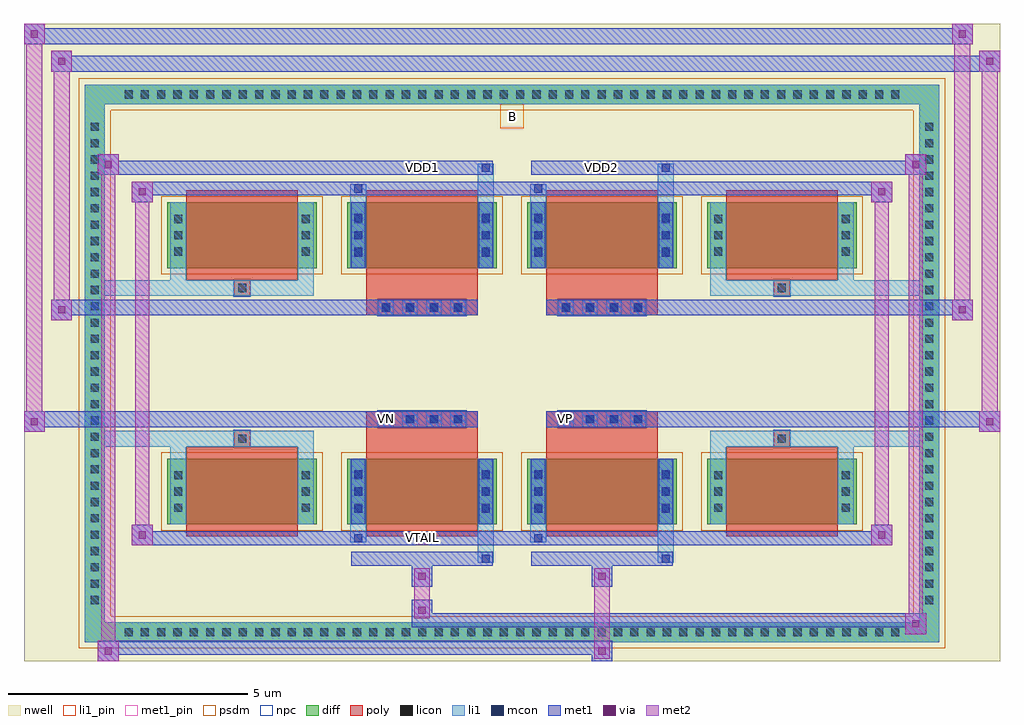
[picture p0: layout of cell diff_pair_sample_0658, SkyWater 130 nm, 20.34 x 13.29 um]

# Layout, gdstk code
import gdstk
lib = gdstk.Library(unit=1e-6, precision=5e-09)
def R(c, l, rs):  # rectangles x0, y0, x1, y1
    for r in rs: c.add(gdstk.rectangle(r[:2], r[2:], *l))
def A(c, l, x, y, w, h, nx, ny, dx, dy):  # array of equal rectangles
    R(c, l, [(x+i*dx, y+j*dy, x+i*dx+w, y+j*dy+h) for i in range(nx) for j in range(ny)])
def P(c, l, *ps):  # polygons
    for p in ps: c.add(gdstk.Polygon(p, *l))
nwell = (64, 20)
diff = (65, 20)
poly = (66, 20)
licon = (66, 44)
li1_pin = (67, 16)
li1 = (67, 20)
mcon = (67, 44)
met1_pin = (68, 16)
met1 = (68, 20)
via = (68, 44)
met2 = (69, 20)
psdm = (94, 20)
npc = (95, 20)

diff_pair_sample_0658 = lib.new_cell('diff_pair_sample_0658')
R(diff_pair_sample_0658, nwell, [(-10.17,-6.21,10.17,7.08), (-7.49,-4.4,-0.01,-0.8), (0.01,-4.4,7.49,-0.8), (-7.49,0.8,-0.01,4.4), (0.01,0.8,7.49,4.4)])
A(diff_pair_sample_0658, diff, -8.195, -5.81, 0.41, 0.41, 48, 2, 0.34, 11.21)
A(diff_pair_sample_0658, diff, -8.9, -5.135, 0.41, 0.41, 1, 30, 0, 0.34)
A(diff_pair_sample_0658, diff, 8.49, -5.135, 0.41, 0.41, 1, 30, 0, 0.34)
A(diff_pair_sample_0658, diff, -7.18, -3.355, 3.11, 1.37, 4, 2, 3.75, 5.34)
R(diff_pair_sample_0658, diff, [(-8.195,-5.81,8.195,-5.4), (-8.9,-5.135,-8.49,5.135), (8.49,-5.135,8.9,5.135), (-8.195,5.4,8.195,5.81)])
P(diff_pair_sample_0658, diff, [(8.9,5.81),(-8.9,5.81),(-8.9,-5.4),(-8.49,-5.4),(-8.49,5.4),(8.49,5.4),(8.49,-5.4),(-8.49,-5.4),(-8.9,-5.4),(-8.9,-5.81),(8.9,-5.81)])
A(diff_pair_sample_0658, poly, -6.79, -3.605, 2.33, 1.87, 4, 2, 3.75, 5.34)
A(diff_pair_sample_0658, poly, -2.79, -1.33, 0.33, 0.33, 4, 2, 0.5, 2.33)
A(diff_pair_sample_0658, poly, 0.96, -1.33, 0.33, 0.33, 4, 2, 0.5, 2.33)
R(diff_pair_sample_0658, poly, [(-5.79,-1.735,-5.46,-1.405), (-5.79,-1.735,-5.46,-1.405), (-3.04,-1.735,-0.71,-1.33), (0.71,-1.735,3.04,-1.33), (5.46,-1.735,5.79,-1.405), (5.46,-1.735,5.79,-1.405), (-3.04,-1.33,-0.71,-1), (0.71,-1.33,3.04,-1), (-3.04,1,-0.71,1.33), (0.71,1,3.04,1.33), (-3.04,1.33,-0.71,1.735), (0.71,1.33,3.04,1.735), (-5.79,1.405,-5.46,1.735), (-5.79,1.405,-5.46,1.735), (5.46,1.405,5.79,1.735), (5.46,1.405,5.79,1.735)])
A(diff_pair_sample_0658, licon, -8.075, -5.69, 0.17, 0.17, 48, 2, 0.34, 11.21)
A(diff_pair_sample_0658, licon, -8.78, -5.015, 0.17, 0.17, 1, 30, 0, 0.34)
A(diff_pair_sample_0658, licon, 8.61, -5.015, 0.17, 0.17, 1, 30, 0, 0.34)
A(diff_pair_sample_0658, licon, -7.04, -3.095, 0.17, 0.17, 1, 3, 0, 0.34)
A(diff_pair_sample_0658, licon, -4.38, -3.095, 0.17, 0.17, 1, 3, 0, 0.34)
A(diff_pair_sample_0658, licon, -3.29, -3.095, 0.17, 0.17, 1, 3, 0, 0.34)
A(diff_pair_sample_0658, licon, -0.63, -3.095, 0.17, 0.17, 1, 3, 0, 0.34)
A(diff_pair_sample_0658, licon, 0.46, -3.095, 0.17, 0.17, 1, 3, 0, 0.34)
A(diff_pair_sample_0658, licon, 3.12, -3.095, 0.17, 0.17, 1, 3, 0, 0.34)
A(diff_pair_sample_0658, licon, 4.21, -3.095, 0.17, 0.17, 1, 3, 0, 0.34)
A(diff_pair_sample_0658, licon, 6.87, -3.095, 0.17, 0.17, 1, 3, 0, 0.34)
A(diff_pair_sample_0658, licon, -2.71, -1.25, 0.17, 0.17, 4, 2, 0.5, 2.33)
A(diff_pair_sample_0658, licon, 1.04, -1.25, 0.17, 0.17, 4, 2, 0.5, 2.33)
A(diff_pair_sample_0658, licon, -7.04, 2.245, 0.17, 0.17, 1, 3, 0, 0.34)
A(diff_pair_sample_0658, licon, -4.38, 2.245, 0.17, 0.17, 1, 3, 0, 0.34)
A(diff_pair_sample_0658, licon, -3.29, 2.245, 0.17, 0.17, 1, 3, 0, 0.34)
A(diff_pair_sample_0658, licon, -0.63, 2.245, 0.17, 0.17, 1, 3, 0, 0.34)
A(diff_pair_sample_0658, licon, 0.46, 2.245, 0.17, 0.17, 1, 3, 0, 0.34)
A(diff_pair_sample_0658, licon, 3.12, 2.245, 0.17, 0.17, 1, 3, 0, 0.34)
A(diff_pair_sample_0658, licon, 4.21, 2.245, 0.17, 0.17, 1, 3, 0, 0.34)
A(diff_pair_sample_0658, licon, 6.87, 2.245, 0.17, 0.17, 1, 3, 0, 0.34)
R(diff_pair_sample_0658, licon, [(-5.71,-1.655,-5.54,-1.485), (5.54,-1.655,5.71,-1.485), (-5.71,1.485,-5.54,1.655), (5.54,1.485,5.71,1.655)])
R(diff_pair_sample_0658, li1_pin, [(-0.25,4.9,0.25,5.4)])
A(diff_pair_sample_0658, li1, -8.155, -5.77, 0.33, 0.33, 48, 2, 0.34, 11.21)
A(diff_pair_sample_0658, li1, -8.86, -5.095, 0.33, 0.33, 1, 30, 0, 0.34)
A(diff_pair_sample_0658, li1, 8.53, -5.095, 0.33, 0.33, 1, 30, 0, 0.34)
A(diff_pair_sample_0658, li1, -7.12, -3.175, 0.33, 0.33, 1, 3, 0, 0.34)
A(diff_pair_sample_0658, li1, -4.46, -3.175, 0.33, 0.33, 1, 3, 0, 0.34)
A(diff_pair_sample_0658, li1, -3.37, -3.175, 0.33, 0.33, 1, 3, 0, 0.34)
A(diff_pair_sample_0658, li1, -0.71, -3.175, 0.33, 0.33, 1, 3, 0, 0.34)
A(diff_pair_sample_0658, li1, 0.38, -3.175, 0.33, 0.33, 1, 3, 0, 0.34)
A(diff_pair_sample_0658, li1, 3.04, -3.175, 0.33, 0.33, 1, 3, 0, 0.34)
A(diff_pair_sample_0658, li1, 4.13, -3.175, 0.33, 0.33, 1, 3, 0, 0.34)
A(diff_pair_sample_0658, li1, 6.79, -3.175, 0.33, 0.33, 1, 3, 0, 0.34)
A(diff_pair_sample_0658, li1, -3.29, -3.115, 0.17, 0.17, 1, 3, 0, 0.36)
A(diff_pair_sample_0658, li1, -0.63, -3.115, 0.17, 0.17, 1, 3, 0, 0.36)
A(diff_pair_sample_0658, li1, 0.46, -3.115, 0.17, 0.17, 1, 3, 0, 0.36)
A(diff_pair_sample_0658, li1, 3.12, -3.115, 0.17, 0.17, 1, 3, 0, 0.36)
A(diff_pair_sample_0658, li1, -2.79, -1.33, 0.33, 0.33, 4, 2, 0.5, 2.33)
A(diff_pair_sample_0658, li1, 0.96, -1.33, 0.33, 0.33, 4, 2, 0.5, 2.33)
A(diff_pair_sample_0658, li1, -7.12, 2.165, 0.33, 0.33, 1, 3, 0, 0.34)
A(diff_pair_sample_0658, li1, -4.46, 2.165, 0.33, 0.33, 1, 3, 0, 0.34)
A(diff_pair_sample_0658, li1, -3.37, 2.165, 0.33, 0.33, 1, 3, 0, 0.34)
A(diff_pair_sample_0658, li1, -0.71, 2.165, 0.33, 0.33, 1, 3, 0, 0.34)
A(diff_pair_sample_0658, li1, 0.38, 2.165, 0.33, 0.33, 1, 3, 0, 0.34)
A(diff_pair_sample_0658, li1, 3.04, 2.165, 0.33, 0.33, 1, 3, 0, 0.34)
A(diff_pair_sample_0658, li1, 4.13, 2.165, 0.33, 0.33, 1, 3, 0, 0.34)
A(diff_pair_sample_0658, li1, 6.79, 2.165, 0.33, 0.33, 1, 3, 0, 0.34)
A(diff_pair_sample_0658, li1, -3.29, 2.225, 0.17, 0.17, 1, 3, 0, 0.36)
A(diff_pair_sample_0658, li1, -0.63, 2.225, 0.17, 0.17, 1, 3, 0, 0.36)
A(diff_pair_sample_0658, li1, 0.46, 2.225, 0.17, 0.17, 1, 3, 0, 0.36)
A(diff_pair_sample_0658, li1, 3.12, 2.225, 0.17, 0.17, 1, 3, 0, 0.36)
R(diff_pair_sample_0658, li1, [(-8.9,-5.81,-8.49,-5.4), (-8.9,-5.81,-8.49,-5.4), (-8.49,-5.81,8.49,-5.4), (8.49,-5.81,8.9,-5.4), (8.49,-5.81,8.9,-5.4), (-8.9,-5.4,-8.49,5.4), (8.49,-5.4,8.9,5.4), (-0.71,-4.16,-0.38,-3.355), (-0.63,-4.16,-0.46,-3.99), (3.04,-4.16,3.37,-3.355), (3.12,-4.16,3.29,-3.99), (-3.37,-3.73,-3.04,-3.355), (-3.29,-3.73,-3.12,-3.56), (0.38,-3.73,0.71,-3.355), (0.46,-3.73,0.63,-3.56), (-7.12,-3.355,-6.79,-1.985), (-4.46,-3.355,-4.13,-1.985), (-3.37,-3.355,-3.04,-1.985), (-0.71,-3.355,-0.38,-1.985), (0.38,-3.355,0.71,-1.985), (3.04,-3.355,3.37,-1.985), (4.13,-3.355,4.46,-1.985), (6.79,-3.355,7.12,-1.985), (-3.29,-3.115,-3.12,-2.225), (-0.63,-3.115,-0.46,-2.225), (0.46,-3.115,0.63,-2.225), (3.12,-3.115,3.29,-2.225), (-7.12,-1.985,-6.79,-1.405), (-4.46,-1.985,-4.13,-1.405), (4.13,-1.985,4.46,-1.405), (6.79,-1.985,7.12,-1.405), (-8.9,-1.735,-5.79,-1.405), (-7.12,-1.735,-5.79,-1.405), (-5.79,-1.735,-5.46,-1.405), (-5.46,-1.735,-4.13,-1.405), (4.13,-1.735,5.46,-1.405), (5.46,-1.735,5.79,-1.405), (5.46,-1.735,8.9,-1.405), (5.79,-1.735,7.12,-1.405), (-8.9,1.405,-5.79,1.735), (-7.12,1.405,-5.79,1.735), (-7.12,1.405,-6.79,1.985), (-5.79,1.405,-5.46,1.735), (-5.46,1.405,-4.13,1.735), (-4.46,1.405,-4.13,1.985), (4.13,1.405,5.46,1.735), (4.13,1.405,4.46,1.985), (5.46,1.405,5.79,1.735), (5.46,1.405,8.9,1.735), (5.79,1.405,7.12,1.735), (6.79,1.405,7.12,1.985), (-7.12,1.985,-6.79,3.355), (-4.46,1.985,-4.13,3.355), (-3.37,1.985,-3.04,3.355), (-0.71,1.985,-0.38,3.355), (0.38,1.985,0.71,3.355), (3.04,1.985,3.37,3.355), (4.13,1.985,4.46,3.355), (6.79,1.985,7.12,3.355), (-3.29,2.225,-3.12,3.115), (-0.63,2.225,-0.46,3.115), (0.46,2.225,0.63,3.115), (3.12,2.225,3.29,3.115), (-3.37,3.355,-3.04,3.73), (-0.71,3.355,-0.38,4.16), (0.38,3.355,0.71,3.73), (3.04,3.355,3.37,4.16), (-3.29,3.56,-3.12,3.73), (0.46,3.56,0.63,3.73), (-0.63,3.99,-0.46,4.16), (3.12,3.99,3.29,4.16), (-8.9,5.4,-8.49,5.81), (-8.9,5.4,-8.49,5.81), (-8.49,5.4,8.49,5.81), (8.49,5.4,8.9,5.81), (8.49,5.4,8.9,5.81)])
A(diff_pair_sample_0658, mcon, -3.29, -3.115, 0.17, 0.17, 1, 3, 0, 0.36)
A(diff_pair_sample_0658, mcon, -0.63, -3.115, 0.17, 0.17, 1, 3, 0, 0.36)
A(diff_pair_sample_0658, mcon, 0.46, -3.115, 0.17, 0.17, 1, 3, 0, 0.36)
A(diff_pair_sample_0658, mcon, 3.12, -3.115, 0.17, 0.17, 1, 3, 0, 0.36)
A(diff_pair_sample_0658, mcon, -2.71, -1.25, 0.17, 0.17, 4, 2, 0.5, 2.33)
A(diff_pair_sample_0658, mcon, 1.04, -1.25, 0.17, 0.17, 4, 2, 0.5, 2.33)
A(diff_pair_sample_0658, mcon, -3.29, 2.225, 0.17, 0.17, 1, 3, 0, 0.36)
A(diff_pair_sample_0658, mcon, -0.63, 2.225, 0.17, 0.17, 1, 3, 0, 0.36)
A(diff_pair_sample_0658, mcon, 0.46, 2.225, 0.17, 0.17, 1, 3, 0, 0.36)
A(diff_pair_sample_0658, mcon, 3.12, 2.225, 0.17, 0.17, 1, 3, 0, 0.36)
R(diff_pair_sample_0658, mcon, [(-0.63,-4.16,-0.46,-3.99), (3.12,-4.16,3.29,-3.99), (-3.29,-3.73,-3.12,-3.56), (0.46,-3.73,0.63,-3.56), (-3.29,3.56,-3.12,3.73), (0.46,3.56,0.63,3.73), (-0.63,3.99,-0.46,4.16), (3.12,3.99,3.29,4.16)])
R(diff_pair_sample_0658, met1_pin, [(-2.01,-3.77,-1.74,-3.5), (-2.76,-1.29,-2.49,-1.02), (0.99,-1.29,1.26,-1.02), (-2.01,3.95,-1.74,4.22), (1.74,3.95,2.01,4.22)])
A(diff_pair_sample_0658, met1, -3.35, -3.175, 0.29, 0.29, 1, 3, 0, 0.36)
A(diff_pair_sample_0658, met1, -0.69, -3.175, 0.29, 0.29, 1, 3, 0, 0.36)
A(diff_pair_sample_0658, met1, 0.4, -3.175, 0.29, 0.29, 1, 3, 0, 0.36)
A(diff_pair_sample_0658, met1, 3.06, -3.175, 0.29, 0.29, 1, 3, 0, 0.36)
A(diff_pair_sample_0658, met1, -2.77, -1.31, 0.29, 0.29, 4, 2, 0.5, 2.33)
A(diff_pair_sample_0658, met1, 0.98, -1.31, 0.29, 0.29, 4, 2, 0.5, 2.33)
A(diff_pair_sample_0658, met1, -3.35, 2.165, 0.29, 0.29, 1, 3, 0, 0.36)
A(diff_pair_sample_0658, met1, -0.69, 2.165, 0.29, 0.29, 1, 3, 0, 0.36)
A(diff_pair_sample_0658, met1, 0.4, 2.165, 0.29, 0.29, 1, 3, 0, 0.36)
A(diff_pair_sample_0658, met1, 3.06, 2.165, 0.29, 0.29, 1, 3, 0, 0.36)
R(diff_pair_sample_0658, met1, [(-8.63,-6.21,-8.2,-5.78), (1.66,-6.21,2.09,-5.78), (-8.63,-6.07,2.09,-5.78), (8.2,-5.64,8.63,-5.21), (-2.09,-5.5,8.63,-5.21), (-2.09,-5.36,-1.66,-4.93), (-2.09,-4.65,-1.66,-4.22), (1.66,-4.65,2.09,-4.22), (-3.35,-4.22,-0.4,-3.93), (-0.69,-4.22,-0.4,-3.93), (0.4,-4.22,3.35,-3.93), (3.06,-4.22,3.35,-3.93), (-7.92,-3.79,-7.49,-3.36), (-7.92,-3.79,-3.35,-3.5), (-3.35,-3.79,-3.06,-3.5), (-3.35,-3.79,-0.4,-3.5), (-0.4,-3.79,0.4,-3.5), (0.4,-3.79,0.69,-3.5), (0.4,-3.79,3.35,-3.5), (3.35,-3.79,7.92,-3.5), (7.49,-3.79,7.92,-3.36), (-3.35,-3.355,-3.06,-1.985), (-0.69,-3.355,-0.4,-1.985), (0.4,-3.355,0.69,-1.985), (3.06,-3.355,3.35,-1.985), (-10.17,-1.43,-9.74,-1), (9.74,-1.43,10.17,-1), (-10.17,-1.33,-0.71,-1), (-3.04,-1.33,-0.71,-1), (0.71,-1.33,3.04,-1), (0.71,-1.33,10.17,-1), (-9.6,0.9,-9.17,1.33), (9.17,0.9,9.6,1.33), (-9.6,1,-3.04,1.33), (-3.04,1,-0.71,1.33), (0.71,1,3.04,1.33), (3.04,1,9.6,1.33), (-3.35,1.985,-3.06,3.355), (-0.69,1.985,-0.4,3.355), (0.4,1.985,0.69,3.355), (3.06,1.985,3.35,3.355), (-7.92,3.36,-7.49,3.79), (7.49,3.36,7.92,3.79), (-7.92,3.5,-3.35,3.79), (-3.35,3.5,-3.06,3.79), (-3.35,3.5,-0.4,3.79), (-0.4,3.5,0.4,3.79), (0.4,3.5,0.69,3.79), (0.4,3.5,3.35,3.79), (3.35,3.5,7.92,3.79), (-8.63,3.93,-8.2,4.36), (-8.63,3.93,-3.35,4.22), (-3.35,3.93,-0.4,4.22), (-0.69,3.93,-0.4,4.22), (0.4,3.93,3.35,4.22), (3.06,3.93,3.35,4.22), (3.35,3.93,8.63,4.22), (8.2,3.93,8.63,4.36), (-9.6,6.08,-9.17,6.51), (-9.6,6.08,-7.49,6.41), (-7.49,6.08,7.49,6.41), (7.49,6.08,10.17,6.41), (9.74,6.08,10.17,6.51), (-10.17,6.65,-9.74,7.08), (-10.17,6.65,-7.49,6.98), (-7.49,6.65,7.49,6.98), (7.49,6.65,9.6,6.98), (9.17,6.65,9.6,7.08)])
R(diff_pair_sample_0658, via, [(-8.49,-6.07,-8.34,-5.92), (1.8,-6.07,1.95,-5.92), (8.34,-5.5,8.49,-5.35), (-1.95,-5.22,-1.8,-5.07), (-1.95,-4.51,-1.8,-4.36), (1.8,-4.51,1.95,-4.36), (-7.78,-3.65,-7.63,-3.5), (7.63,-3.65,7.78,-3.5), (-10.03,-1.29,-9.88,-1.14), (9.88,-1.29,10.03,-1.14), (-9.46,1.04,-9.31,1.19), (9.31,1.04,9.46,1.19), (-7.78,3.5,-7.63,3.65), (7.63,3.5,7.78,3.65), (-8.49,4.07,-8.34,4.22), (8.34,4.07,8.49,4.22), (-9.46,6.22,-9.31,6.37), (9.88,6.22,10.03,6.37), (-10.03,6.79,-9.88,6.94), (9.31,6.79,9.46,6.94)])
R(diff_pair_sample_0658, met2, [(-8.63,-6.21,-8.2,-5.78), (-8.56,-6.21,-8.27,4.36), (-8.27,-6.21,-8.2,-5.78), (-8.58,-6.16,-8.25,-5.83), (1.71,-6.16,2.04,-5.83), (1.71,-5.83,2.04,-4.6), (8.2,-5.64,8.63,-5.21), (8.27,-5.64,8.56,4.36), (8.56,-5.64,8.63,-5.21), (8.25,-5.59,8.58,-5.26), (-2.04,-5.31,-1.71,-4.98), (-2.04,-4.98,-1.71,-4.6), (-2.04,-4.6,-1.71,-4.27), (1.71,-4.6,2.04,-4.27), (-7.92,-3.79,-7.49,-3.36), (-7.85,-3.79,-7.56,3.79), (-7.56,-3.79,-7.49,-3.36), (7.49,-3.79,7.92,-3.36), (7.56,-3.79,7.85,3.79), (7.85,-3.79,7.92,-3.36), (-7.87,-3.74,-7.54,-3.41), (7.54,-3.74,7.87,-3.41), (-10.17,-1.43,-9.74,-1), (-10.12,-1.43,-9.79,7.08), (-9.79,-1.43,-9.74,-1), (9.74,-1.43,10.17,-1), (9.79,-1.43,10.12,6.51), (10.12,-1.43,10.17,-1), (-10.12,-1.38,-9.79,-1.05), (9.79,-1.38,10.12,-1.05), (-9.6,0.9,-9.17,1.33), (-9.55,0.9,-9.22,6.51), (-9.22,0.9,-9.17,1.33), (9.17,0.9,9.6,1.33), (9.22,0.9,9.55,7.08), (9.55,0.9,9.6,1.33), (-9.55,0.95,-9.22,1.28), (9.22,0.95,9.55,1.28), (-7.92,3.36,-7.49,3.79), (-7.56,3.36,-7.49,3.79), (7.49,3.36,7.92,3.79), (7.85,3.36,7.92,3.79), (-7.87,3.41,-7.54,3.74), (7.54,3.41,7.87,3.74), (-8.63,3.93,-8.2,4.36), (-8.27,3.93,-8.2,4.36), (8.2,3.93,8.63,4.36), (8.56,3.93,8.63,4.36), (-8.58,3.98,-8.25,4.31), (8.25,3.98,8.58,4.31), (-9.6,6.08,-9.17,6.51), (-9.22,6.08,-9.17,6.51), (9.74,6.08,10.17,6.51), (10.12,6.08,10.17,6.51), (-9.55,6.13,-9.22,6.46), (9.79,6.13,10.12,6.46), (-10.17,6.65,-9.74,7.08), (-9.79,6.65,-9.74,7.08), (9.17,6.65,9.6,7.08), (9.55,6.65,9.6,7.08), (-10.12,6.7,-9.79,7.03), (9.22,6.7,9.55,7.03)])
A(diff_pair_sample_0658, psdm, -7.31, -3.485, 3.37, 1.63, 4, 2, 3.75, 5.34)
P(diff_pair_sample_0658, psdm, [(9.03,5.94),(-9.03,5.94),(-9.03,-5.27),(-8.36,-5.27),(-8.36,5.27),(8.36,5.27),(8.36,-5.27),(-8.36,-5.27),(-9.03,-5.27),(-9.03,-5.94),(9.03,-5.94)])
A(diff_pair_sample_0658, npc, -2.81, -1.35, 0.37, 0.37, 4, 2, 0.5, 2.33)
A(diff_pair_sample_0658, npc, 0.94, -1.35, 0.37, 0.37, 4, 2, 0.5, 2.33)
R(diff_pair_sample_0658, npc, [(-5.81,-1.755,-5.44,-1.385), (5.44,-1.755,5.81,-1.385), (-2.81,-1.35,-1.94,-0.98), (-2.81,-1.35,-1.94,-0.98), (-2.31,-1.35,-1.44,-0.98), (-2.31,-1.35,-1.44,-0.98), (-1.81,-1.35,-0.94,-0.98), (-1.81,-1.35,-0.94,-0.98), (0.94,-1.35,1.81,-0.98), (0.94,-1.35,1.81,-0.98), (1.44,-1.35,2.31,-0.98), (1.44,-1.35,2.31,-0.98), (1.94,-1.35,2.81,-0.98), (1.94,-1.35,2.81,-0.98), (-2.81,0.98,-1.94,1.35), (-2.81,0.98,-1.94,1.35), (-2.31,0.98,-1.44,1.35), (-2.31,0.98,-1.44,1.35), (-1.81,0.98,-0.94,1.35), (-1.81,0.98,-0.94,1.35), (0.94,0.98,1.81,1.35), (0.94,0.98,1.81,1.35), (1.44,0.98,2.31,1.35), (1.44,0.98,2.31,1.35), (1.94,0.98,2.81,1.35), (1.94,0.98,2.81,1.35), (-5.81,1.385,-5.44,1.755), (5.44,1.385,5.81,1.755)])
diff_pair_sample_0658.add(gdstk.Label('VTAIL', (-1.875,-3.635), layer=68, texttype=5))
diff_pair_sample_0658.add(gdstk.Label('VN', (-2.625,-1.155), layer=68, texttype=5))
diff_pair_sample_0658.add(gdstk.Label('VP', (1.125,-1.155), layer=68, texttype=5))
diff_pair_sample_0658.add(gdstk.Label('B', (0,5.15), layer=67, texttype=5))
diff_pair_sample_0658.add(gdstk.Label('VDD2', (1.875,4.085), layer=68, texttype=5))
diff_pair_sample_0658.add(gdstk.Label('VDD1', (-1.875,4.085), layer=68, texttype=5))

lib.write_gds('diff_pair_sample_0658.gds')
